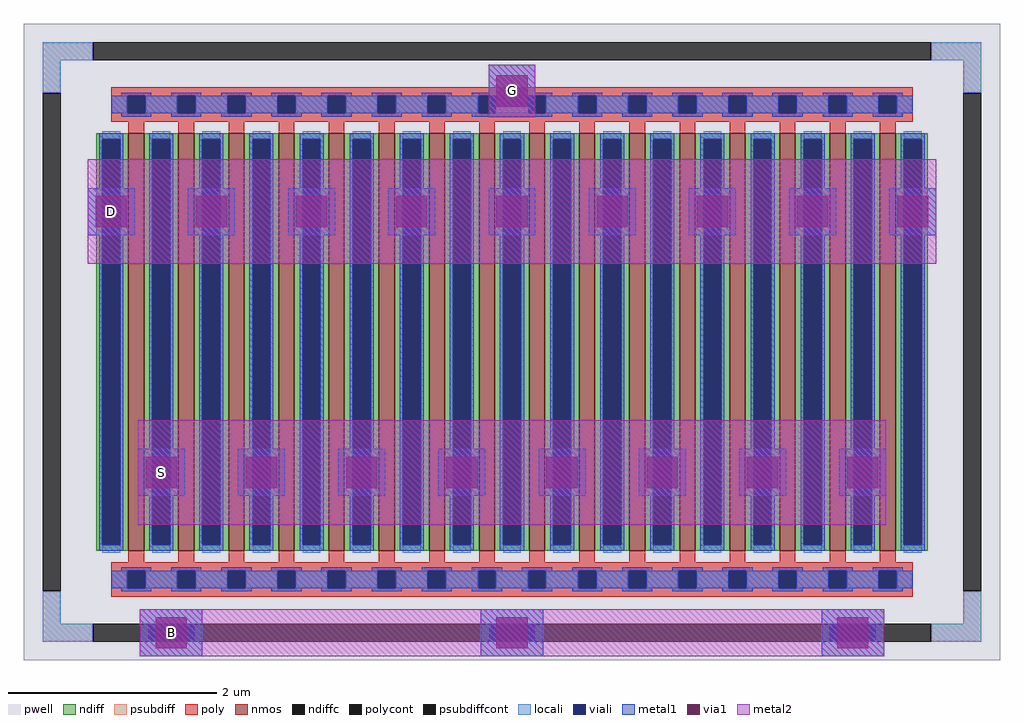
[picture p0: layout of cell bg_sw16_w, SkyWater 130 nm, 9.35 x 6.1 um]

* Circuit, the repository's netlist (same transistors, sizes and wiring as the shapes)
* NGSPICE file created from bg_sw16_w.ext - technology: sky130A

.subckt bg_sw16 B D0 G S1 D2 S3 D4 S5 D6 S7 D8 S9 D10 S11 D12 S13 D14 S15 a_735_n400#
X0 D6 G S5 B sky130_fd_pr__nfet_01v8 ad=0.66 pd=4.33 as=0.66 ps=4.33 w=4 l=0.15
X1 S13 G D12 B sky130_fd_pr__nfet_01v8 ad=0.66 pd=4.33 as=0.66 ps=4.33 w=4 l=0.15
X2 S3 G D2 B sky130_fd_pr__nfet_01v8 ad=0.66 pd=4.33 as=0.66 ps=4.33 w=4 l=0.15
X3 S9 G D8 B sky130_fd_pr__nfet_01v8 ad=0.66 pd=4.33 as=0.66 ps=4.33 w=4 l=0.15
X4 a_735_n400# G S15 B sky130_fd_pr__nfet_01v8 ad=1.24 pd=8.62 as=0.66 ps=4.33 w=4 l=0.15
X5 S7 G D6 B sky130_fd_pr__nfet_01v8 ad=0.66 pd=4.33 as=0.66 ps=4.33 w=4 l=0.15
X6 D4 G S3 B sky130_fd_pr__nfet_01v8 ad=0.66 pd=4.33 as=0.66 ps=4.33 w=4 l=0.15
X7 S15 G D14 B sky130_fd_pr__nfet_01v8 ad=0.66 pd=4.33 as=0.66 ps=4.33 w=4 l=0.15
X8 S1 G D0 B sky130_fd_pr__nfet_01v8 ad=0.66 pd=4.33 as=1.24 ps=8.62 w=4 l=0.15
X9 D8 G S7 B sky130_fd_pr__nfet_01v8 ad=0.66 pd=4.33 as=0.66 ps=4.33 w=4 l=0.15
X10 D12 G S11 B sky130_fd_pr__nfet_01v8 ad=0.66 pd=4.33 as=0.66 ps=4.33 w=4 l=0.15
X11 D2 G S1 B sky130_fd_pr__nfet_01v8 ad=0.66 pd=4.33 as=0.66 ps=4.33 w=4 l=0.15
X12 S11 G D10 B sky130_fd_pr__nfet_01v8 ad=0.66 pd=4.33 as=0.66 ps=4.33 w=4 l=0.15
X13 S5 G D4 B sky130_fd_pr__nfet_01v8 ad=0.66 pd=4.33 as=0.66 ps=4.33 w=4 l=0.15
X14 D14 G S13 B sky130_fd_pr__nfet_01v8 ad=0.66 pd=4.33 as=0.66 ps=4.33 w=4 l=0.15
X15 D10 G S9 B sky130_fd_pr__nfet_01v8 ad=0.66 pd=4.33 as=0.66 ps=4.33 w=4 l=0.15
.ends

.subckt bg_sw16_w D S G B
Xu_dev B D G S D S D S D S D S D S D S D S D bg_sw16
.ends

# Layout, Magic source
magic
tech sky130A
magscale 1 2
use bg_sw16 u_dev
transform 1 0 0 0 1 0
box -935 -610 935 610
<< viali >>
rect -698 -574 -608 -540
rect -45 -574 45 -540
rect 608 -574 698 -540
<< metal1 >>
rect -813 205 -723 295
rect -621 205 -531 295
rect -429 205 -339 295
rect -237 205 -147 295
rect -45 205 45 295
rect 147 205 237 295
rect 339 205 429 295
rect 531 205 621 295
rect 723 205 813 295
rect -717 -295 -627 -205
rect -525 -295 -435 -205
rect -333 -295 -243 -205
rect -141 -295 -51 -205
rect 51 -295 141 -205
rect 243 -295 333 -205
rect 435 -295 525 -205
rect 627 -295 717 -205
rect -45 432 45 531
rect -713 -602 -593 -512
rect -60 -602 60 -512
rect 593 -602 713 -512
<< via1 >>
rect -798 220 -738 280
rect -606 220 -546 280
rect -414 220 -354 280
rect -222 220 -162 280
rect -30 220 30 280
rect 162 220 222 280
rect 354 220 414 280
rect 546 220 606 280
rect 738 220 798 280
rect -702 -280 -642 -220
rect -510 -280 -450 -220
rect -318 -280 -258 -220
rect -126 -280 -66 -220
rect 66 -280 126 -220
rect 258 -280 318 -220
rect 450 -280 510 -220
rect 642 -280 702 -220
rect -30 451 30 511
rect -683 -587 -623 -527
rect -30 -587 30 -527
rect 623 -587 683 -527
<< metal2 >>
rect -813 150 813 350
rect -717 -350 717 -150
rect -45 431 45 531
rect -713 -602 713 -512
<< labels >>
rlabel metal2 -768 250 -768 250 0 D
port 1 nsew
rlabel metal2 -672 -250 -672 -250 0 S
port 2 nsew
rlabel metal2 0 481 0 481 0 G
port 3 nsew
rlabel metal2 -653 -557 -653 -557 0 B
port 4 nsew
<< end >>

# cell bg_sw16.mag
magic
tech sky130A
magscale 1 2
<< pwell >>
rect -935 -610 935 610
<< nmos >>
rect -735 -400 -705 400
rect -639 -400 -609 400
rect -543 -400 -513 400
rect -447 -400 -417 400
rect -351 -400 -321 400
rect -255 -400 -225 400
rect -159 -400 -129 400
rect -63 -400 -33 400
rect 33 -400 63 400
rect 129 -400 159 400
rect 225 -400 255 400
rect 321 -400 351 400
rect 417 -400 447 400
rect 513 -400 543 400
rect 609 -400 639 400
rect 705 -400 735 400
<< ndiff >>
rect -797 388 -735 400
rect -797 -388 -785 388
rect -751 -388 -735 388
rect -797 -400 -735 -388
rect -705 388 -639 400
rect -705 -388 -689 388
rect -655 -388 -639 388
rect -705 -400 -639 -388
rect -609 388 -543 400
rect -609 -388 -593 388
rect -559 -388 -543 388
rect -609 -400 -543 -388
rect -513 388 -447 400
rect -513 -388 -497 388
rect -463 -388 -447 388
rect -513 -400 -447 -388
rect -417 388 -351 400
rect -417 -388 -401 388
rect -367 -388 -351 388
rect -417 -400 -351 -388
rect -321 388 -255 400
rect -321 -388 -305 388
rect -271 -388 -255 388
rect -321 -400 -255 -388
rect -225 388 -159 400
rect -225 -388 -209 388
rect -175 -388 -159 388
rect -225 -400 -159 -388
rect -129 388 -63 400
rect -129 -388 -113 388
rect -79 -388 -63 388
rect -129 -400 -63 -388
rect -33 388 33 400
rect -33 -388 -17 388
rect 17 -388 33 388
rect -33 -400 33 -388
rect 63 388 129 400
rect 63 -388 79 388
rect 113 -388 129 388
rect 63 -400 129 -388
rect 159 388 225 400
rect 159 -388 175 388
rect 209 -388 225 388
rect 159 -400 225 -388
rect 255 388 321 400
rect 255 -388 271 388
rect 305 -388 321 388
rect 255 -400 321 -388
rect 351 388 417 400
rect 351 -388 367 388
rect 401 -388 417 388
rect 351 -400 417 -388
rect 447 388 513 400
rect 447 -388 463 388
rect 497 -388 513 388
rect 447 -400 513 -388
rect 543 388 609 400
rect 543 -388 559 388
rect 593 -388 609 388
rect 543 -400 609 -388
rect 639 388 705 400
rect 639 -388 655 388
rect 689 -388 705 388
rect 639 -400 705 -388
rect 735 388 797 400
rect 735 -388 751 388
rect 785 -388 797 388
rect 735 -400 797 -388
<< ndiffc >>
rect -785 -388 -751 388
rect -689 -388 -655 388
rect -593 -388 -559 388
rect -497 -388 -463 388
rect -401 -388 -367 388
rect -305 -388 -271 388
rect -209 -388 -175 388
rect -113 -388 -79 388
rect -17 -388 17 388
rect 79 -388 113 388
rect 175 -388 209 388
rect 271 -388 305 388
rect 367 -388 401 388
rect 463 -388 497 388
rect 559 -388 593 388
rect 655 -388 689 388
rect 751 -388 785 388
<< psubdiff >>
rect -899 540 -803 574
rect 803 540 899 574
rect -899 478 -865 540
rect 865 478 899 540
rect -899 -540 -865 -478
rect 865 -540 899 -478
rect -899 -574 -803 -540
rect 803 -574 899 -540
<< psubdiffcont >>
rect -803 540 803 574
rect -899 -478 -865 478
rect 865 -478 899 478
rect -803 -574 803 -540
<< poly >>
rect -768 472 768 488
rect -768 438 -737 472
rect -703 438 -641 472
rect -607 438 -545 472
rect -511 438 -449 472
rect -415 438 -353 472
rect -319 438 -257 472
rect -223 438 -161 472
rect -127 438 -65 472
rect -31 438 31 472
rect 65 438 127 472
rect 161 438 223 472
rect 257 438 319 472
rect 353 438 415 472
rect 449 438 511 472
rect 545 438 607 472
rect 641 438 703 472
rect 737 438 768 472
rect -768 422 768 438
rect -735 400 -705 422
rect -639 400 -609 422
rect -543 400 -513 422
rect -447 400 -417 422
rect -351 400 -321 422
rect -255 400 -225 422
rect -159 400 -129 422
rect -63 400 -33 422
rect 33 400 63 422
rect 129 400 159 422
rect 225 400 255 422
rect 321 400 351 422
rect 417 400 447 422
rect 513 400 543 422
rect 609 400 639 422
rect 705 400 735 422
rect -735 -422 -705 -400
rect -639 -422 -609 -400
rect -543 -422 -513 -400
rect -447 -422 -417 -400
rect -351 -422 -321 -400
rect -255 -422 -225 -400
rect -159 -422 -129 -400
rect -63 -422 -33 -400
rect 33 -422 63 -400
rect 129 -422 159 -400
rect 225 -422 255 -400
rect 321 -422 351 -400
rect 417 -422 447 -400
rect 513 -422 543 -400
rect 609 -422 639 -400
rect 705 -422 735 -400
rect -768 -438 768 -422
rect -768 -472 -737 -438
rect -703 -472 -641 -438
rect -607 -472 -545 -438
rect -511 -472 -449 -438
rect -415 -472 -353 -438
rect -319 -472 -257 -438
rect -223 -472 -161 -438
rect -127 -472 -65 -438
rect -31 -472 31 -438
rect 65 -472 127 -438
rect 161 -472 223 -438
rect 257 -472 319 -438
rect 353 -472 415 -438
rect 449 -472 511 -438
rect 545 -472 607 -438
rect 641 -472 703 -438
rect 737 -472 768 -438
rect -768 -488 768 -472
<< polycont >>
rect -737 438 -703 472
rect -641 438 -607 472
rect -545 438 -511 472
rect -449 438 -415 472
rect -353 438 -319 472
rect -257 438 -223 472
rect -161 438 -127 472
rect -65 438 -31 472
rect 31 438 65 472
rect 127 438 161 472
rect 223 438 257 472
rect 319 438 353 472
rect 415 438 449 472
rect 511 438 545 472
rect 607 438 641 472
rect 703 438 737 472
rect -737 -472 -703 -438
rect -641 -472 -607 -438
rect -545 -472 -511 -438
rect -449 -472 -415 -438
rect -353 -472 -319 -438
rect -257 -472 -223 -438
rect -161 -472 -127 -438
rect -65 -472 -31 -438
rect 31 -472 65 -438
rect 127 -472 161 -438
rect 223 -472 257 -438
rect 319 -472 353 -438
rect 415 -472 449 -438
rect 511 -472 545 -438
rect 607 -472 641 -438
rect 703 -472 737 -438
<< locali >>
rect -899 540 -803 574
rect 803 540 899 574
rect -899 478 -865 540
rect 865 478 899 540
rect -768 438 -737 472
rect -703 438 -641 472
rect -607 438 -545 472
rect -511 438 -449 472
rect -415 438 -353 472
rect -319 438 -257 472
rect -223 438 -161 472
rect -127 438 -65 472
rect -31 438 31 472
rect 65 438 127 472
rect 161 438 223 472
rect 257 438 319 472
rect 353 438 415 472
rect 449 438 511 472
rect 545 438 607 472
rect 641 438 703 472
rect 737 438 768 472
rect -785 388 -751 404
rect -785 -404 -751 -388
rect -689 388 -655 404
rect -689 -404 -655 -388
rect -593 388 -559 404
rect -593 -404 -559 -388
rect -497 388 -463 404
rect -497 -404 -463 -388
rect -401 388 -367 404
rect -401 -404 -367 -388
rect -305 388 -271 404
rect -305 -404 -271 -388
rect -209 388 -175 404
rect -209 -404 -175 -388
rect -113 388 -79 404
rect -113 -404 -79 -388
rect -17 388 17 404
rect -17 -404 17 -388
rect 79 388 113 404
rect 79 -404 113 -388
rect 175 388 209 404
rect 175 -404 209 -388
rect 271 388 305 404
rect 271 -404 305 -388
rect 367 388 401 404
rect 367 -404 401 -388
rect 463 388 497 404
rect 463 -404 497 -388
rect 559 388 593 404
rect 559 -404 593 -388
rect 655 388 689 404
rect 655 -404 689 -388
rect 751 388 785 404
rect 751 -404 785 -388
rect -768 -472 -737 -438
rect -703 -472 -641 -438
rect -607 -472 -545 -438
rect -511 -472 -449 -438
rect -415 -472 -353 -438
rect -319 -472 -257 -438
rect -223 -472 -161 -438
rect -127 -472 -65 -438
rect -31 -472 31 -438
rect 65 -472 127 -438
rect 161 -472 223 -438
rect 257 -472 319 -438
rect 353 -472 415 -438
rect 449 -472 511 -438
rect 545 -472 607 -438
rect 641 -472 703 -438
rect 737 -472 768 -438
rect -899 -540 -865 -478
rect 865 -540 899 -478
rect -899 -574 -803 -540
rect 803 -574 899 -540
<< viali >>
rect -737 438 -703 472
rect -641 438 -607 472
rect -545 438 -511 472
rect -449 438 -415 472
rect -353 438 -319 472
rect -257 438 -223 472
rect -161 438 -127 472
rect -65 438 -31 472
rect 31 438 65 472
rect 127 438 161 472
rect 223 438 257 472
rect 319 438 353 472
rect 415 438 449 472
rect 511 438 545 472
rect 607 438 641 472
rect 703 438 737 472
rect -785 -388 -751 388
rect -689 -388 -655 388
rect -593 -388 -559 388
rect -497 -388 -463 388
rect -401 -388 -367 388
rect -305 -388 -271 388
rect -209 -388 -175 388
rect -113 -388 -79 388
rect -17 -388 17 388
rect 79 -388 113 388
rect 175 -388 209 388
rect 271 -388 305 388
rect 367 -388 401 388
rect 463 -388 497 388
rect 559 -388 593 388
rect 655 -388 689 388
rect 751 -388 785 388
rect -737 -472 -703 -438
rect -641 -472 -607 -438
rect -545 -472 -511 -438
rect -449 -472 -415 -438
rect -353 -472 -319 -438
rect -257 -472 -223 -438
rect -161 -472 -127 -438
rect -65 -472 -31 -438
rect 31 -472 65 -438
rect 127 -472 161 -438
rect 223 -472 257 -438
rect 319 -472 353 -438
rect 415 -472 449 -438
rect 511 -472 545 -438
rect 607 -472 641 -438
rect 703 -472 737 -438
<< metal1 >>
rect -749 472 -691 478
rect -653 472 -595 478
rect -557 472 -499 478
rect -461 472 -403 478
rect -365 472 -307 478
rect -269 472 -211 478
rect -173 472 -115 478
rect -77 472 -19 478
rect 19 472 77 478
rect 115 472 173 478
rect 211 472 269 478
rect 307 472 365 478
rect 403 472 461 478
rect 499 472 557 478
rect 595 472 653 478
rect 691 472 749 478
rect -768 438 -737 472
rect -703 438 -641 472
rect -607 438 -545 472
rect -511 438 -449 472
rect -415 438 -353 472
rect -319 438 -257 472
rect -223 438 -161 472
rect -127 438 -65 472
rect -31 438 31 472
rect 65 438 127 472
rect 161 438 223 472
rect 257 438 319 472
rect 353 438 415 472
rect 449 438 511 472
rect 545 438 607 472
rect 641 438 703 472
rect 737 438 768 472
rect -749 432 -691 438
rect -653 432 -595 438
rect -557 432 -499 438
rect -461 432 -403 438
rect -365 432 -307 438
rect -269 432 -211 438
rect -173 432 -115 438
rect -77 432 -19 438
rect 19 432 77 438
rect 115 432 173 438
rect 211 432 269 438
rect 307 432 365 438
rect 403 432 461 438
rect 499 432 557 438
rect 595 432 653 438
rect 691 432 749 438
rect -791 388 -745 400
rect -791 -388 -785 388
rect -751 -388 -745 388
rect -791 -400 -745 -388
rect -695 388 -649 400
rect -695 -388 -689 388
rect -655 -388 -649 388
rect -695 -400 -649 -388
rect -599 388 -553 400
rect -599 -388 -593 388
rect -559 -388 -553 388
rect -599 -400 -553 -388
rect -503 388 -457 400
rect -503 -388 -497 388
rect -463 -388 -457 388
rect -503 -400 -457 -388
rect -407 388 -361 400
rect -407 -388 -401 388
rect -367 -388 -361 388
rect -407 -400 -361 -388
rect -311 388 -265 400
rect -311 -388 -305 388
rect -271 -388 -265 388
rect -311 -400 -265 -388
rect -215 388 -169 400
rect -215 -388 -209 388
rect -175 -388 -169 388
rect -215 -400 -169 -388
rect -119 388 -73 400
rect -119 -388 -113 388
rect -79 -388 -73 388
rect -119 -400 -73 -388
rect -23 388 23 400
rect -23 -388 -17 388
rect 17 -388 23 388
rect -23 -400 23 -388
rect 73 388 119 400
rect 73 -388 79 388
rect 113 -388 119 388
rect 73 -400 119 -388
rect 169 388 215 400
rect 169 -388 175 388
rect 209 -388 215 388
rect 169 -400 215 -388
rect 265 388 311 400
rect 265 -388 271 388
rect 305 -388 311 388
rect 265 -400 311 -388
rect 361 388 407 400
rect 361 -388 367 388
rect 401 -388 407 388
rect 361 -400 407 -388
rect 457 388 503 400
rect 457 -388 463 388
rect 497 -388 503 388
rect 457 -400 503 -388
rect 553 388 599 400
rect 553 -388 559 388
rect 593 -388 599 388
rect 553 -400 599 -388
rect 649 388 695 400
rect 649 -388 655 388
rect 689 -388 695 388
rect 649 -400 695 -388
rect 745 388 791 400
rect 745 -388 751 388
rect 785 -388 791 388
rect 745 -400 791 -388
rect -749 -438 -691 -432
rect -653 -438 -595 -432
rect -557 -438 -499 -432
rect -461 -438 -403 -432
rect -365 -438 -307 -432
rect -269 -438 -211 -432
rect -173 -438 -115 -432
rect -77 -438 -19 -432
rect 19 -438 77 -432
rect 115 -438 173 -432
rect 211 -438 269 -432
rect 307 -438 365 -432
rect 403 -438 461 -432
rect 499 -438 557 -432
rect 595 -438 653 -432
rect 691 -438 749 -432
rect -768 -472 -737 -438
rect -703 -472 -641 -438
rect -607 -472 -545 -438
rect -511 -472 -449 -438
rect -415 -472 -353 -438
rect -319 -472 -257 -438
rect -223 -472 -161 -438
rect -127 -472 -65 -438
rect -31 -472 31 -438
rect 65 -472 127 -438
rect 161 -472 223 -438
rect 257 -472 319 -438
rect 353 -472 415 -438
rect 449 -472 511 -438
rect 545 -472 607 -438
rect 641 -472 703 -438
rect 737 -472 768 -438
rect -749 -478 -691 -472
rect -653 -478 -595 -472
rect -557 -478 -499 -472
rect -461 -478 -403 -472
rect -365 -478 -307 -472
rect -269 -478 -211 -472
rect -173 -478 -115 -472
rect -77 -478 -19 -472
rect 19 -478 77 -472
rect 115 -478 173 -472
rect 211 -478 269 -472
rect 307 -478 365 -472
rect 403 -478 461 -472
rect 499 -478 557 -472
rect 595 -478 653 -472
rect 691 -478 749 -472
<< labels >>
rlabel psubdiffcont 0 -557 0 -557 0 B
port 1 nsew
rlabel ndiffc -768 0 -768 0 0 D0
port 2 nsew
rlabel polycont -720 455 -720 455 0 G
port 3 nsew
rlabel ndiffc -672 0 -672 0 0 S1
port 4 nsew
rlabel polycont -624 455 -624 455 0 G
port 3 nsew
rlabel ndiffc -576 0 -576 0 0 D2
port 5 nsew
rlabel polycont -528 455 -528 455 0 G
port 3 nsew
rlabel ndiffc -480 0 -480 0 0 S3
port 6 nsew
rlabel polycont -432 455 -432 455 0 G
port 3 nsew
rlabel ndiffc -384 0 -384 0 0 D4
port 7 nsew
rlabel polycont -336 455 -336 455 0 G
port 3 nsew
rlabel ndiffc -288 0 -288 0 0 S5
port 8 nsew
rlabel polycont -240 455 -240 455 0 G
port 3 nsew
rlabel ndiffc -192 0 -192 0 0 D6
port 9 nsew
rlabel polycont -144 455 -144 455 0 G
port 3 nsew
rlabel ndiffc -96 0 -96 0 0 S7
port 10 nsew
rlabel polycont -48 455 -48 455 0 G
port 3 nsew
rlabel ndiffc 0 0 0 0 0 D8
port 11 nsew
rlabel polycont 48 455 48 455 0 G
port 3 nsew
rlabel ndiffc 96 0 96 0 0 S9
port 12 nsew
rlabel polycont 144 455 144 455 0 G
port 3 nsew
rlabel ndiffc 192 0 192 0 0 D10
port 13 nsew
rlabel polycont 240 455 240 455 0 G
port 3 nsew
rlabel ndiffc 288 0 288 0 0 S11
port 14 nsew
rlabel polycont 336 455 336 455 0 G
port 3 nsew
rlabel ndiffc 384 0 384 0 0 D12
port 15 nsew
rlabel polycont 432 455 432 455 0 G
port 3 nsew
rlabel ndiffc 480 0 480 0 0 S13
port 16 nsew
rlabel polycont 528 455 528 455 0 G
port 3 nsew
rlabel ndiffc 576 0 576 0 0 D14
port 17 nsew
rlabel polycont 624 455 624 455 0 G
port 3 nsew
rlabel ndiffc 672 0 672 0 0 S15
port 18 nsew
rlabel polycont 720 455 720 455 0 G
port 3 nsew
<< properties >>
string FIXED_BBOX -882 -557 882 557
<< end >>
